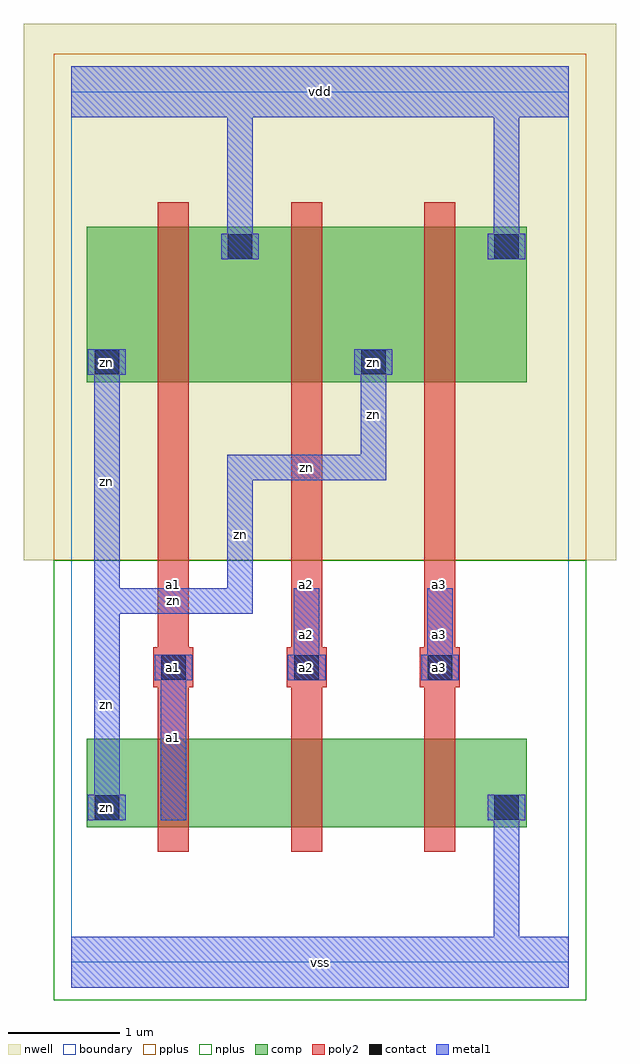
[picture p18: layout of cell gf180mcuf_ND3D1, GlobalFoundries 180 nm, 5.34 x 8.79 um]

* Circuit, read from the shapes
.subckt gf180mcuf_ND3D1 a1 a2 a3 vdd vss zn
XM1 n1 a1 zn VSUBS nfet_03v3 w=0.8u l=0.28u
XM2 n2 a2 n1 VSUBS nfet_03v3 w=0.8u l=0.28u
XM3 vss a3 n2 VSUBS nfet_03v3 w=0.8u l=0.28u
XM4 vdd a1 zn n3 pfet_03v3 w=1.4u l=0.28u
XM5 zn a2 vdd n3 pfet_03v3 w=1.4u l=0.28u
XM6 vdd a3 zn n3 pfet_03v3 w=1.4u l=0.28u
.ends

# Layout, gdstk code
import gdstk
lib = gdstk.Library(unit=1e-6, precision=1e-09)
def R(c, l, rs):  # rectangles x0, y0, x1, y1
    for r in rs: c.add(gdstk.rectangle(r[:2], r[2:], *l))
def A(c, l, x, y, w, h, nx, ny, dx, dy):  # array of equal rectangles
    R(c, l, [(x+i*dx, y+j*dy, x+i*dx+w, y+j*dy+h) for i in range(nx) for j in range(ny)])
boundary = (0, 0)
nwell = (21, 0)
comp = (22, 0)
poly2 = (30, 0)
pplus = (31, 0)
nplus = (32, 0)
contact = (33, 0)
metal1 = (34, 0)

gf180mcuf_nd3d1 = lib.new_cell('gf180mcuf_ND3D1')
R(gf180mcuf_nd3d1, boundary, [(0,0,4.48,7.84)])
R(gf180mcuf_nd3d1, nwell, [(-0.43,3.62,4.91,8.45)])
A(gf180mcuf_nd3d1, comp, 0.14, 1.215, 1.56, 0.8, 3, 1, 1.2, 0)
A(gf180mcuf_nd3d1, comp, 0.14, 5.225, 1.56, 1.4, 3, 1, 1.2, 0)
R(gf180mcuf_nd3d1, comp, [(0.14,1.215,0.5,1.575), (3.74,1.215,4.1,1.575), (0.14,5.225,0.5,5.585), (2.54,5.225,2.9,5.585), (1.34,6.265,1.7,6.625), (3.74,6.265,4.1,6.625)])
A(gf180mcuf_nd3d1, poly2, 0.78, 0.995, 0.28, 1.24, 3, 1, 1.2, 0)
A(gf180mcuf_nd3d1, poly2, 0.78, 1.255, 0.28, 4.29, 3, 1, 1.2, 0)
A(gf180mcuf_nd3d1, poly2, 0.74, 2.475, 0.36, 0.36, 3, 1, 1.2, 0)
A(gf180mcuf_nd3d1, poly2, 0.78, 5.005, 0.28, 1.84, 3, 1, 1.2, 0)
R(gf180mcuf_nd3d1, pplus, [(-0.16,3.62,4.64,7.5), (-0.16,7.5,4.64,8.18)])
R(gf180mcuf_nd3d1, nplus, [(-0.16,-0.34,4.64,0.34), (-0.16,0.34,4.64,3.62)])
A(gf180mcuf_nd3d1, contact, 0.81, 2.545, 0.22, 0.22, 3, 1, 1.2, 0)
R(gf180mcuf_nd3d1, contact, [(0.21,1.285,0.43,1.505), (3.81,1.285,4.03,1.505), (0.21,5.295,0.43,5.515), (2.61,5.295,2.83,5.515), (1.41,6.335,1.63,6.555), (3.81,6.335,4.03,6.555)])
A(gf180mcuf_nd3d1, metal1, 0.75, 2.54, 0.34, 0.23, 3, 1, 1.2, 0)
R(gf180mcuf_nd3d1, metal1, [(0,-0.23,4.48,0.23), (3.805,0.065,4.035,1.51), (0.15,1.28,0.49,1.51), (0.205,1.28,0.435,3.37), (0.805,1.28,1.035,2.77), (3.75,1.28,4.09,1.51), (2.005,2.54,2.235,3.37), (3.205,2.54,3.435,3.37), (0.205,3.14,1.635,3.37), (0.205,3.14,0.435,5.52), (1.405,3.14,1.635,4.57), (1.405,4.34,2.835,4.57), (2.605,4.34,2.835,5.52), (0.15,5.29,0.49,5.52), (2.55,5.29,2.89,5.52), (1.35,6.33,1.69,6.56), (1.405,6.33,1.635,7.775), (3.75,6.33,4.09,6.56), (3.805,6.33,4.035,7.775), (0,7.61,4.48,8.07)])
gf180mcuf_nd3d1.add(gdstk.FlexPath([(0.14,0.575),(4.1,0.575)], 0, ends="flush", simple_path=True, layer=0, datatype=0))  # boundary
gf180mcuf_nd3d1.add(gdstk.FlexPath([(0.14,1.395),(4.1,1.395)], 0, ends="flush", simple_path=True, layer=0, datatype=0))  # boundary
gf180mcuf_nd3d1.add(gdstk.FlexPath([(0.14,2.655),(4.1,2.655)], 0, ends="flush", simple_path=True, layer=0, datatype=0))  # boundary
gf180mcuf_nd3d1.add(gdstk.FlexPath([(0.14,3.255),(4.1,3.255)], 0, ends="flush", simple_path=True, layer=0, datatype=0))  # boundary
gf180mcuf_nd3d1.add(gdstk.FlexPath([(0.14,3.855),(4.1,3.855)], 0, ends="flush", simple_path=True, layer=0, datatype=0))  # boundary
gf180mcuf_nd3d1.add(gdstk.FlexPath([(0.14,4.455),(4.1,4.455)], 0, ends="flush", simple_path=True, layer=0, datatype=0))  # boundary
gf180mcuf_nd3d1.add(gdstk.FlexPath([(0.14,5.405),(4.1,5.405)], 0, ends="flush", simple_path=True, layer=0, datatype=0))  # boundary
gf180mcuf_nd3d1.add(gdstk.FlexPath([(0.14,6.445),(4.1,6.445)], 0, ends="flush", simple_path=True, layer=0, datatype=0))  # boundary
gf180mcuf_nd3d1.add(gdstk.FlexPath([(0.14,7.265),(4.1,7.265)], 0, ends="flush", simple_path=True, layer=0, datatype=0))  # boundary
gf180mcuf_nd3d1.add(gdstk.FlexPath([(0.32,0.065),(0.32,7.775)], 0, ends="flush", simple_path=True, layer=0, datatype=0))  # boundary
gf180mcuf_nd3d1.add(gdstk.FlexPath([(0.92,0.065),(0.92,7.775)], 0, ends="flush", simple_path=True, layer=0, datatype=0))  # boundary
gf180mcuf_nd3d1.add(gdstk.FlexPath([(1.52,0.065),(1.52,7.775)], 0, ends="flush", simple_path=True, layer=0, datatype=0))  # boundary
gf180mcuf_nd3d1.add(gdstk.FlexPath([(2.12,0.065),(2.12,7.775)], 0, ends="flush", simple_path=True, layer=0, datatype=0))  # boundary
gf180mcuf_nd3d1.add(gdstk.FlexPath([(2.72,0.065),(2.72,7.775)], 0, ends="flush", simple_path=True, layer=0, datatype=0))  # boundary
gf180mcuf_nd3d1.add(gdstk.FlexPath([(3.32,0.065),(3.32,7.775)], 0, ends="flush", simple_path=True, layer=0, datatype=0))  # boundary
gf180mcuf_nd3d1.add(gdstk.FlexPath([(3.92,0.065),(3.92,7.775)], 0, ends="flush", simple_path=True, layer=0, datatype=0))  # boundary
gf180mcuf_nd3d1.add(gdstk.Label('zn', (0.32,1.395), layer=22, texttype=0))
gf180mcuf_nd3d1.add(gdstk.Label('zn', (2.72,5.405), layer=22, texttype=0))
gf180mcuf_nd3d1.add(gdstk.Label('zn', (0.32,5.405), layer=22, texttype=0))
gf180mcuf_nd3d1.add(gdstk.Label('a1', (0.92,3.4), layer=30, texttype=0))
gf180mcuf_nd3d1.add(gdstk.Label('a1', (0.92,2.655), layer=30, texttype=0))
gf180mcuf_nd3d1.add(gdstk.Label('a2', (2.12,3.4), layer=30, texttype=0))
gf180mcuf_nd3d1.add(gdstk.Label('a2', (2.12,2.655), layer=30, texttype=0))
gf180mcuf_nd3d1.add(gdstk.Label('a3', (3.32,3.4), layer=30, texttype=0))
gf180mcuf_nd3d1.add(gdstk.Label('a3', (3.32,2.655), layer=30, texttype=0))
gf180mcuf_nd3d1.add(gdstk.Label('zn', (0.32,1.395), layer=33, texttype=0))
gf180mcuf_nd3d1.add(gdstk.Label('zn', (2.72,5.405), layer=33, texttype=0))
gf180mcuf_nd3d1.add(gdstk.Label('zn', (0.32,5.405), layer=33, texttype=0))
gf180mcuf_nd3d1.add(gdstk.Label('a1', (0.92,2.655), layer=33, texttype=0))
gf180mcuf_nd3d1.add(gdstk.Label('a2', (2.12,2.655), layer=33, texttype=0))
gf180mcuf_nd3d1.add(gdstk.Label('a3', (3.32,2.655), layer=33, texttype=0))
gf180mcuf_nd3d1.add(gdstk.Label('zn', (0.32,1.395), layer=34, texttype=10))
gf180mcuf_nd3d1.add(gdstk.Label('zn', (2.72,5.405), layer=34, texttype=10))
gf180mcuf_nd3d1.add(gdstk.Label('zn', (0.32,5.405), layer=34, texttype=10))
gf180mcuf_nd3d1.add(gdstk.Label('zn', (0.32,2.325), layer=34, texttype=10))
gf180mcuf_nd3d1.add(gdstk.Label('zn', (0.92,3.255), layer=34, texttype=10))
gf180mcuf_nd3d1.add(gdstk.Label('zn', (1.52,3.855), layer=34, texttype=10))
gf180mcuf_nd3d1.add(gdstk.Label('zn', (2.12,4.455), layer=34, texttype=10))
gf180mcuf_nd3d1.add(gdstk.Label('zn', (2.72,4.93), layer=34, texttype=10))
gf180mcuf_nd3d1.add(gdstk.Label('zn', (0.32,4.33), layer=34, texttype=10))
gf180mcuf_nd3d1.add(gdstk.Label('a1', (0.92,2.655), layer=34, texttype=10))
gf180mcuf_nd3d1.add(gdstk.Label('a1', (0.92,2.025), layer=34, texttype=10))
gf180mcuf_nd3d1.add(gdstk.Label('a2', (2.12,2.655), layer=34, texttype=10))
gf180mcuf_nd3d1.add(gdstk.Label('a2', (2.12,2.955), layer=34, texttype=10))
gf180mcuf_nd3d1.add(gdstk.Label('a3', (3.32,2.655), layer=34, texttype=10))
gf180mcuf_nd3d1.add(gdstk.Label('a3', (3.32,2.955), layer=34, texttype=10))
gf180mcuf_nd3d1.add(gdstk.Label('vss', (2.24,0), layer=34, texttype=10))
gf180mcuf_nd3d1.add(gdstk.Label('vdd', (2.24,7.84), layer=34, texttype=10))

lib.write_gds('gf180mcuf_ND3D1.gds')
